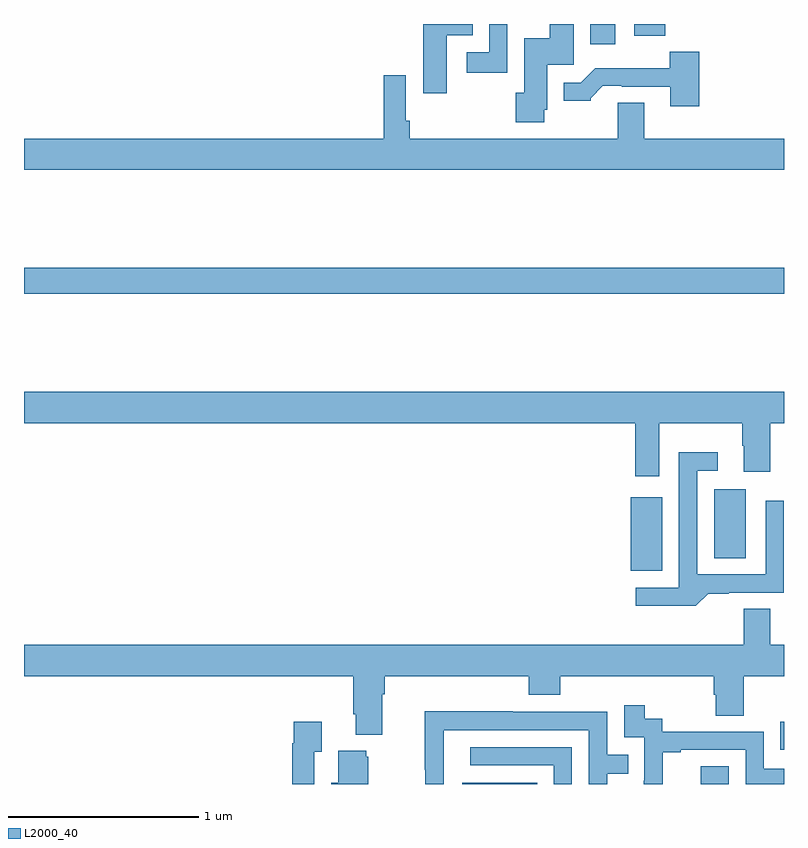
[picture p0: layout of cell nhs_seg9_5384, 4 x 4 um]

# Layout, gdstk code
import gdstk
lib = gdstk.Library(unit=1e-6, precision=1e-09)
def R(c, l, rs):  # rectangles x0, y0, x1, y1
    for r in rs: c.add(gdstk.rectangle(r[:2], r[2:], *l))
def P(c, l, *ps):  # polygons
    for p in ps: c.add(gdstk.Polygon(p, *l))
L2000_40 = (2000, 40)

nhs_seg9_5384 = lib.new_cell('nhs_seg9_5384')
R(nhs_seg9_5384, L2000_40, [(425.306,1214.5,425.702,1214.506), (426.561,1214.5,426.708,1214.593), (426.979,1214.679,427,1214.827), (426.194,1215.623,426.358,1216.009), (426.632,1215.688,426.799,1216.051), (423,1217.08,427,1217.216), (425.981,1218.393,426.112,1218.5), (426.212,1218.437,426.374,1218.5)])
P(nhs_seg9_5384, L2000_40, [(425.739,1218.048),(425.755,1218.048),(425.755,1218.285),(425.893,1218.285),(425.893,1218.5),(425.768,1218.5),(425.768,1218.424),(425.633,1218.424),(425.633,1218.138),(425.587,1218.138),(425.587,1217.982),(425.739,1217.982)],
  [(425.224,1218.44),(425.363,1218.44),(425.363,1218.5),(425.102,1218.5),(425.102,1218.135),(425.224,1218.135)],
  [(425.544,1218.5),(425.448,1218.5),(425.448,1218.351),(425.331,1218.351),(425.331,1218.243),(425.544,1218.243)],
  [(426.554,1218.355),(426.399,1218.355),(426.399,1218.268),(426.007,1218.268),(425.931,1218.192),(425.84,1218.192),(425.84,1218.095),(425.982,1218.095),(425.982,1218.11),(426.046,1218.174),(426.145,1218.174),(426.145,1218.171),(426.401,1218.171),(426.401,1218.066),(426.554,1218.066)],
  [(427,1217.896),(426.265,1217.896),(426.265,1218.086),(426.125,1218.086),(426.125,1217.896),(425.03,1217.896),(425.03,1217.992),(425.01,1217.992),(425.01,1218.229),(424.894,1218.229),(424.894,1217.896),(423,1217.896),(423,1217.732),(427,1217.732)],
  [(426.343,1216.4),(426.781,1216.4),(426.781,1216.28),(426.788,1216.28),(426.788,1216.143),(426.928,1216.143),(426.928,1216.4),(427,1216.4),(427,1216.564),(423,1216.564),(423,1216.4),(426.218,1216.4),(426.218,1216.119),(426.343,1216.119)],
  [(426.601,1215.502),(426.709,1215.502),(426.709,1215.507),(426.999,1215.507),(426.999,1215.991),(426.903,1215.991),(426.903,1215.603),(426.543,1215.603),(426.543,1216.149),(426.652,1216.149),(426.652,1216.246),(426.447,1216.246),(426.447,1215.534),(426.219,1215.534),(426.219,1215.437),(426.536,1215.437)],
  [(424.885,1214.972),(424.898,1214.972),(424.898,1215.068),(425.657,1215.068),(425.657,1214.969),(425.822,1214.969),(425.822,1215.068),(426.629,1215.068),(426.629,1214.97),(426.641,1214.97),(426.641,1214.86),(426.789,1214.86),(426.789,1215.068),(427,1215.068),(427,1215.232),(426.928,1215.232),(426.928,1215.422),(426.788,1215.422),(426.788,1215.232),(423,1215.232),(423,1215.068),(424.733,1215.068),(424.733,1214.866),(424.745,1214.866),(424.745,1214.759),(424.885,1214.759)],
  [(426.362,1214.667),(426.457,1214.667),(426.457,1214.679),(426.798,1214.679),(426.798,1214.5),(427,1214.5),(427,1214.58),(426.894,1214.58),(426.894,1214.775),(426.36,1214.775),(426.36,1214.844),(426.268,1214.844),(426.268,1214.914),(426.159,1214.914),(426.159,1214.745),(426.264,1214.745),(426.264,1214.516),(426.263,1214.516),(426.263,1214.5),(426.362,1214.5)],
  [(425.208,1214.53),(425.209,1214.53),(425.209,1214.784),(425.973,1214.784),(425.973,1214.5),(426.069,1214.5),(426.069,1214.554),(426.179,1214.554),(426.179,1214.655),(426.069,1214.655),(426.069,1214.88),(425.573,1214.88),(425.573,1214.882),(425.11,1214.882),(425.11,1214.575),(425.112,1214.575),(425.112,1214.5),(425.208,1214.5)],
  [(424.527,1214.671),(424.567,1214.671),(424.567,1214.827),(424.419,1214.827),(424.419,1214.714),(424.411,1214.714),(424.411,1214.5),(424.527,1214.5)],
  [(425.883,1214.694),(425.349,1214.694),(425.349,1214.598),(425.787,1214.598),(425.787,1214.5),(425.883,1214.5)],
  [(424.813,1214.643),(424.802,1214.643),(424.802,1214.674),(424.655,1214.674),(424.655,1214.506),(424.616,1214.506),(424.616,1214.5),(424.813,1214.5)])

lib.write_gds('nhs_seg9_5384.gds')
